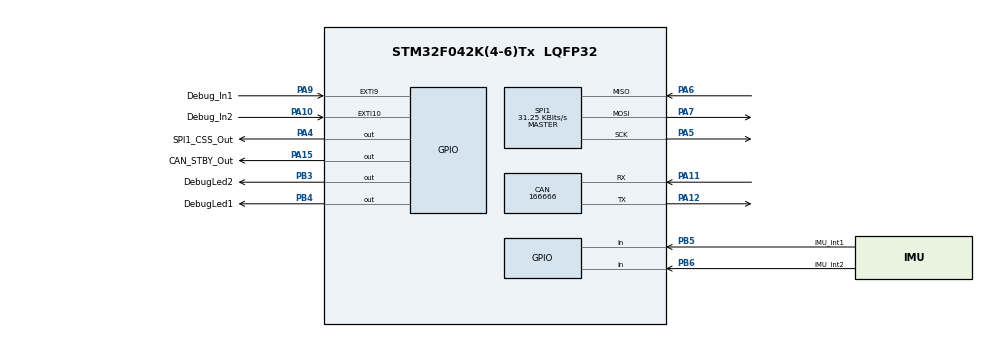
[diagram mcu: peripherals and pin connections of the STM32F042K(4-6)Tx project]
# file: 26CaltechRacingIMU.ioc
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CAN.CalculateBaudRate=166666
CAN.CalculateTimeBit=6000
CAN.CalculateTimeQuantum=2000.0
Mcu.Family=STM32F0
Mcu.Name=STM32F042K(4-6)Tx
Mcu.Package=LQFP32
NVIC.CEC_CAN_IRQn=true\:0\:0\:false\:false\:true\:false\:true\:true
NVIC.EXTI4_15_IRQn=true\:3\:0\:true\:false\:true\:true\:true\:true
NVIC.SPI1_IRQn=true\:0\:0\:false\:false\:true\:true\:true\:true
PA10.GPIO_Label=Debug_In2
PA10.GPIO_ModeDefaultEXTI=GPIO_MODE_IT_FALLING
PA10.GPIO_PuPd=GPIO_PULLUP
PA10.Signal=GPXTI10
PA11.Mode=CAN_Activate
PA11.Signal=CAN_RX
PA12.Mode=CAN_Activate
PA12.Signal=CAN_TX
PA13.Mode=Serial_Wire
PA13.Signal=SYS_SWDIO
PA14.Mode=Serial_Wire
PA14.Signal=SYS_SWCLK
PA15.GPIO_Label=CAN_STBY_Out
PA15.GPIO_PuPd=GPIO_PULLDOWN
PA15.Signal=GPIO_Output
PA4.GPIO_Label=SPI1_CSS_Out
PA4.GPIO_PuPd=GPIO_PULLUP
PA4.GPIO_Speed=GPIO_SPEED_FREQ_HIGH
PA4.Signal=GPIO_Output
PA5.Mode=Full_Duplex_Master
PA5.Signal=SPI1_SCK
PA6.GPIO_PuPd=GPIO_PULLDOWN
PA6.Mode=Full_Duplex_Master
PA6.Signal=SPI1_MISO
PA7.Mode=Full_Duplex_Master
PA7.Signal=SPI1_MOSI
PA9.GPIO_Label=Debug_In1
PA9.GPIO_ModeDefaultEXTI=GPIO_MODE_IT_FALLING
PA9.GPIO_PuPd=GPIO_PULLUP
PA9.Signal=GPXTI9
PB3.GPIO_Label=DebugLed2
PB3.Signal=GPIO_Output
PB4.GPIO_Label=DebugLed1
PB4.Signal=GPIO_Output
PB5.GPIO_Label=IMU_Int1
PB5.Signal=GPIO_Input
PB6.GPIO_Label=IMU_Int2
PB6.Signal=GPIO_Input
PF0-OSC_IN.Mode=HSE-External-Oscillator
PF0-OSC_IN.Signal=RCC_OSC_IN
PF1-OSC_OUT.Mode=HSE-External-Oscillator
PF1-OSC_OUT.Signal=RCC_OSC_OUT
ProjectManager.HeapSize=0x200
ProjectManager.StackSize=0x400
ProjectManager.TargetToolchain=CMake
SPI1.BaudRatePrescaler=SPI_BAUDRATEPRESCALER_256
SPI1.CLKPhase=SPI_PHASE_2EDGE
SPI1.CLKPolarity=SPI_POLARITY_HIGH
SPI1.CalculateBaudRate=31.25 KBits/s
SPI1.DataSize=SPI_DATASIZE_8BIT
SPI1.Direction=SPI_DIRECTION_2LINES
SPI1.Mode=SPI_MODE_MASTER
SPI1.VirtualType=VM_MASTER
TIM16.Prescaler=8000-1
VP_TIM16_VS_ClockSourceINT.Mode=Enable_Timer
board=custom

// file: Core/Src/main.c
/* USER CODE BEGIN Header */
/**
  ******************************************************************************
  * @file           : main.c
  * @brief          : Main program body
  ******************************************************************************
  * @attention
  *
  * Copyright (c) 2026 STMicroelectronics.
  * All rights reserved.
  *
  * This software is licensed under terms that can be found in the LICENSE file
  * in the root directory of this software component.
  * If no LICENSE file comes with this software, it is provided AS-IS.
  *
  ******************************************************************************
  */
/* USER CODE END Header */
#include "main.h"

CAN_HandleTypeDef hcan;

SPI_HandleTypeDef hspi1;

TIM_HandleTypeDef htim16;

/* USER CODE BEGIN PV */
uint32_t  LEDTIMDIFF = 500;

/* USER CODE END PV */

void SystemClock_Config(void);
static void MX_GPIO_Init(void);
static void MX_CAN_Init(void);
static void MX_SPI1_Init(void);
static void MX_TIM16_Init(void);

int main(void)
{

  /* USER CODE BEGIN 1 */
  uint16_t  Timer16_Counter = 0;
  uint8_t   tx[2];
    tx[0] = 0x8f;   // read bit
    tx[1] = 0x00;

  uint8_t   rx[2];
  uint8_t   whoami = 0;

  uint8_t   ok = 255;

  /* USER CODE END 1 */

  /* MCU Configuration--------------------------------------------------------*/

  /* Reset of all peripherals, Initializes the Flash interface and the Systick. */
  HAL_Init();

  /* Configure the system clock */
  SystemClock_Config();

  /* Initialize all configured peripherals */
  MX_GPIO_Init();
  MX_CAN_Init();
  MX_SPI1_Init();
  MX_TIM16_Init();
  /* USER CODE BEGIN 2 */
  HAL_TIM_Base_Start(&htim16);
  Timer16_Counter = __HAL_TIM_GET_COUNTER(&htim16);

  HAL_GPIO_TogglePin(GPIOB, DebugLed1_Pin);

  HAL_Delay(100);
  /* USER CODE END 2 */

  /* Infinite loop */
  while (1)
  {

    /* USER CODE BEGIN 3 */
    HAL_GPIO_WritePin(GPIOA, GPIO_PIN_4, GPIO_PIN_RESET);
    HAL_Delay(10);

    HAL_SPI_TransmitReceive(&hspi1, tx , rx, 2, 100);

    HAL_GPIO_WritePin(GPIOA, GPIO_PIN_4, GPIO_PIN_SET);
    HAL_Delay(10);

    ok = (rx[1] == 0x6C);

    whoami = rx[1];

  }
  /* USER CODE END 3 */
}

void SystemClock_Config(void)
{
  RCC_OscInitTypeDef RCC_OscInitStruct = {0};
  RCC_ClkInitTypeDef RCC_ClkInitStruct = {0};

  /** Initializes the RCC Oscillators according to the specified parameters
  * in the RCC_OscInitTypeDef structure.
  */
  RCC_OscInitStruct.OscillatorType = RCC_OSCILLATORTYPE_HSI;
  RCC_OscInitStruct.HSIState = RCC_HSI_ON;
  RCC_OscInitStruct.HSICalibrationValue = RCC_HSICALIBRATION_DEFAULT;
  RCC_OscInitStruct.PLL.PLLState = RCC_PLL_NONE;
  if (HAL_RCC_OscConfig(&RCC_OscInitStruct) != HAL_OK)
  {
    Error_Handler();
  }

  /** Initializes the CPU, AHB and APB buses clocks
  */
  RCC_ClkInitStruct.ClockType = RCC_CLOCKTYPE_HCLK|RCC_CLOCKTYPE_SYSCLK
                              |RCC_CLOCKTYPE_PCLK1;
  RCC_ClkInitStruct.SYSCLKSource = RCC_SYSCLKSOURCE_HSI;
  RCC_ClkInitStruct.AHBCLKDivider = RCC_SYSCLK_DIV1;
  RCC_ClkInitStruct.APB1CLKDivider = RCC_HCLK_DIV1;

  if (HAL_RCC_ClockConfig(&RCC_ClkInitStruct, FLASH_LATENCY_0) != HAL_OK)
  {
    Error_Handler();
  }
}

static void MX_CAN_Init(void)
{

  hcan.Instance = CAN;
  hcan.Init.Prescaler = 16;
  hcan.Init.Mode = CAN_MODE_NORMAL;
  hcan.Init.SyncJumpWidth = CAN_SJW_1TQ;
  hcan.Init.TimeSeg1 = CAN_BS1_1TQ;
  hcan.Init.TimeSeg2 = CAN_BS2_1TQ;
  hcan.Init.TimeTriggeredMode = DISABLE;
  hcan.Init.AutoBusOff = DISABLE;
  hcan.Init.AutoWakeUp = DISABLE;
  hcan.Init.AutoRetransmission = DISABLE;
  hcan.Init.ReceiveFifoLocked = DISABLE;
  hcan.Init.TransmitFifoPriority = DISABLE;
  if (HAL_CAN_Init(&hcan) != HAL_OK)
  {
    Error_Handler();
  }

}

static void MX_SPI1_Init(void)
{

  /* SPI1 parameter configuration*/
  hspi1.Instance = SPI1;
  hspi1.Init.Mode = SPI_MODE_MASTER;
  hspi1.Init.Direction = SPI_DIRECTION_2LINES;
  hspi1.Init.DataSize = SPI_DATASIZE_8BIT;
  hspi1.Init.CLKPolarity = SPI_POLARITY_HIGH;
  hspi1.Init.CLKPhase = SPI_PHASE_2EDGE;
  hspi1.Init.NSS = SPI_NSS_SOFT;
  hspi1.Init.BaudRatePrescaler = SPI_BAUDRATEPRESCALER_256;
  hspi1.Init.FirstBit = SPI_FIRSTBIT_MSB;
  hspi1.Init.TIMode = SPI_TIMODE_DISABLE;
  hspi1.Init.CRCCalculation = SPI_CRCCALCULATION_DISABLE;
  hspi1.Init.CRCPolynomial = 7;
  hspi1.Init.CRCLength = SPI_CRC_LENGTH_DATASIZE;
  hspi1.Init.NSSPMode = SPI_NSS_PULSE_DISABLE;
  if (HAL_SPI_Init(&hspi1) != HAL_OK)
  {
    Error_Handler();
  }

}

static void MX_TIM16_Init(void)
{

  htim16.Instance = TIM16;
  htim16.Init.Prescaler = 8000-1;
  htim16.Init.CounterMode = TIM_COUNTERMODE_UP;
  htim16.Init.Period = 65535;
  htim16.Init.ClockDivision = TIM_CLOCKDIVISION_DIV1;
  htim16.Init.RepetitionCounter = 0;
  htim16.Init.AutoReloadPreload = TIM_AUTORELOAD_PRELOAD_DISABLE;
  if (HAL_TIM_Base_Init(&htim16) != HAL_OK)
  {
    Error_Handler();
  }

}

static void MX_GPIO_Init(void)
{
  GPIO_InitTypeDef GPIO_InitStruct = {0};

  /* GPIO Ports Clock Enable */
  __HAL_RCC_GPIOF_CLK_ENABLE();
  __HAL_RCC_GPIOA_CLK_ENABLE();
  __HAL_RCC_GPIOB_CLK_ENABLE();

  /*Configure GPIO pin Output Level */
  HAL_GPIO_WritePin(GPIOA, SPI1_CSS_Out_Pin|CAN_STBY_Out_Pin, GPIO_PIN_RESET);

  /*Configure GPIO pin Output Level */
  HAL_GPIO_WritePin(GPIOB, DebugLed2_Pin|DebugLed1_Pin, GPIO_PIN_RESET);

  /*Configure GPIO pin : SPI1_CSS_Out_Pin */
  GPIO_InitStruct.Pin = SPI1_CSS_Out_Pin;
  GPIO_InitStruct.Mode = GPIO_MODE_OUTPUT_PP;
  GPIO_InitStruct.Pull = GPIO_PULLUP;
  GPIO_InitStruct.Speed = GPIO_SPEED_FREQ_HIGH;
  HAL_GPIO_Init(SPI1_CSS_Out_GPIO_Port, &GPIO_InitStruct);

  /*Configure GPIO pins : Debug_In1_Pin Debug_In2_Pin */
  GPIO_InitStruct.Pin = Debug_In1_Pin|Debug_In2_Pin;
  GPIO_InitStruct.Mode = GPIO_MODE_IT_FALLING;
  GPIO_InitStruct.Pull = GPIO_PULLUP;
  HAL_GPIO_Init(GPIOA, &GPIO_InitStruct);

  /*Configure GPIO pin : CAN_STBY_Out_Pin */
  GPIO_InitStruct.Pin = CAN_STBY_Out_Pin;
  GPIO_InitStruct.Mode = GPIO_MODE_OUTPUT_PP;
  GPIO_InitStruct.Pull = GPIO_PULLDOWN;
  GPIO_InitStruct.Speed = GPIO_SPEED_FREQ_LOW;
  HAL_GPIO_Init(CAN_STBY_Out_GPIO_Port, &GPIO_InitStruct);

  /*Configure GPIO pins : DebugLed2_Pin DebugLed1_Pin */
  GPIO_InitStruct.Pin = DebugLed2_Pin|DebugLed1_Pin;
  GPIO_InitStruct.Mode = GPIO_MODE_OUTPUT_PP;
  GPIO_InitStruct.Pull = GPIO_NOPULL;
  GPIO_InitStruct.Speed = GPIO_SPEED_FREQ_LOW;
  HAL_GPIO_Init(GPIOB, &GPIO_InitStruct);

  /*Configure GPIO pins : IMU_Int1_Pin IMU_Int2_Pin */
  GPIO_InitStruct.Pin = IMU_Int1_Pin|IMU_Int2_Pin;
  GPIO_InitStruct.Mode = GPIO_MODE_INPUT;
  GPIO_InitStruct.Pull = GPIO_NOPULL;
  HAL_GPIO_Init(GPIOB, &GPIO_InitStruct);

  /* EXTI interrupt init*/
  HAL_NVIC_SetPriority(EXTI4_15_IRQn, 3, 0);
  HAL_NVIC_EnableIRQ(EXTI4_15_IRQn);

}

/* USER CODE BEGIN 4 */
void HAL_GPIO_EXTI_Callback(uint16_t GPIO_Pin){

}

/* USER CODE END 4 */

void Error_Handler(void)
{
  __disable_irq();
  while (1)
  {
  }
}
